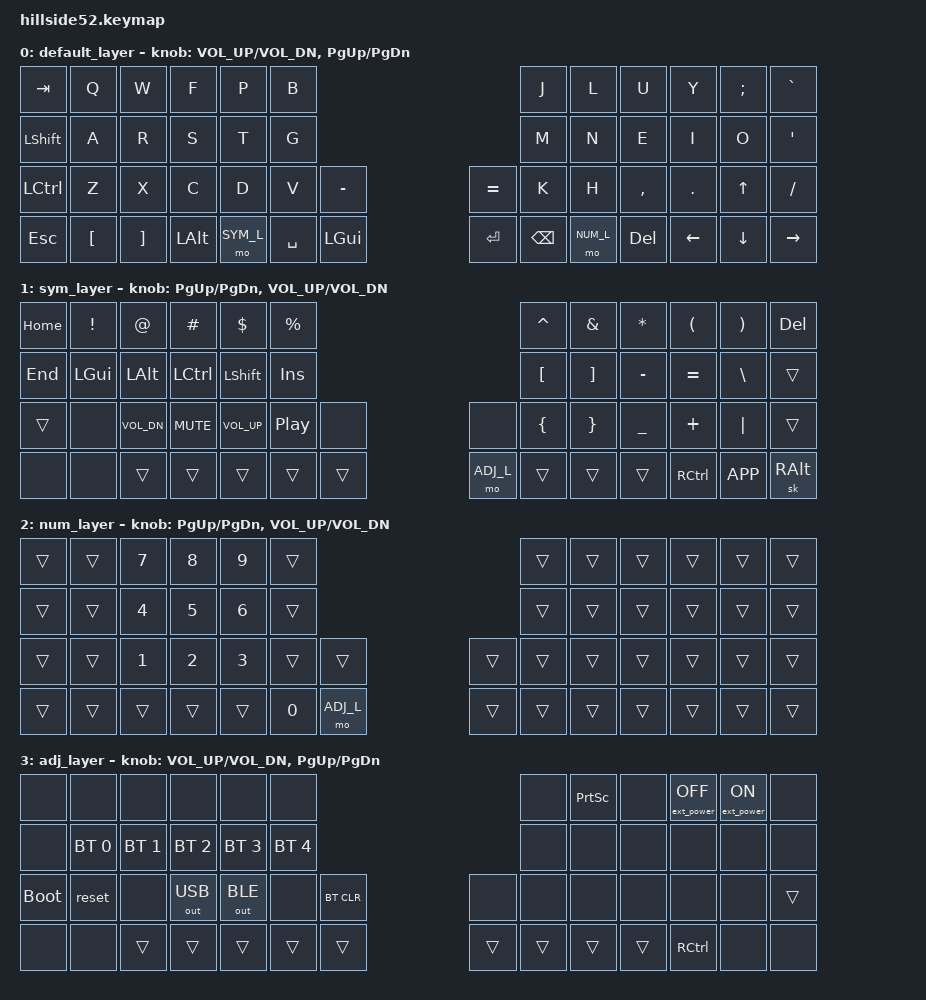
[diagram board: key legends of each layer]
/*
 * Copyright (c) 2021-2022 The ZMK Contributors
 *
 * SPDX-License-Identifier: MIT
 */

#include <behaviors.dtsi>
#include <dt-bindings/zmk/bt.h>
#include <dt-bindings/zmk/ext_power.h>
#include <dt-bindings/zmk/keys.h>
#include <dt-bindings/zmk/outputs.h>


#define COLEMK_L 0
#define SYM_L    1
#define NUM_L    2
#define ADJ_L    3

#define Undo   LC(Z)
#define Cut    LC(X)
#define Copy   LC(C)
#define Paste  LC(V)
#define Redo   LC(Y)


/ {
        keymap {
                compatible = "zmk,keymap";

                default_layer {
/* COLEMAK-DH
 * -------------------------------------------------------------------------------------------------------------------------------------
 * | `     |   Q   |   W   |   F   |   P   |   B   |-----------------------------------|   J   |   L   |   U   |   Y   |   ;   | BKSPC |
 * | TAB   |   A   |   R   |   S   |   T   |   G   |-----------------------------------|   M   |   N   |   E   |   I   |   O   | ENTER |
 * | SHIFT |   Z   |   X   |   C   |   D   |   V   |   '   |-------------------|   /   |   K   |   H   |   ,   |   .   |  Up   | SHIFT |
 * | CAPS  |  ESC  | CTRL  |-------|  GUI  |  ALT  |  Sym  |SK SHFT|---|  Num  | SPACE |  ALT  |  GUI  |-------| Left  | Down  | Right |
 */
                        bindings = <
&kp  TAB    &kp  Q        &kp  W        &kp  F        &kp  P        &kp  B                                                                         &kp  J        &kp  L        &kp  U        &kp  Y        &kp  SEMI     &kp  GRAVE
&kp  LSHFT      &kp  A        &kp  R        &kp  S        &kp  T        &kp  G                                                                         &kp  M        &kp  N        &kp  E        &kp  I        &kp  O        &kp   SQT
&kp  LCTRL    &kp  Z        &kp  X        &kp  C        &kp  D        &kp  V        &kp  MINUS                                           &kp  EQUAL    &kp  K        &kp  H        &kp  COMMA    &kp  DOT      &kp  UP       &kp  SLASH
&kp ESC    &kp  LBKT      &kp RBKT                  &kp  LALT     &mo  SYM_L     &kp SPACE     &kp LGUI            &kp ENTER    &kp  BSPC    &mo  NUM_L    &kp  DEL                   &kp  LEFT     &kp  DOWN     &kp  RIGHT
                        >;
			
                        sensor-bindings = <&inc_dec_kp C_VOL_UP C_VOL_DN &inc_dec_kp PG_UP PG_DN>;
                };
		
                sym_layer {
/* SYM
 * -------------------------------------------------------------------------------------------------------------------------------------
 * | HOME  |   !   |   @   |   #   |   $   |   %   |-----------------------------------|   ^   |   &   |   *   |   (   |   )   | DELETE|
 * | END   |  GUI  |  Alt  | Ctrl  | Shift |  INS  |-----------------------------------|   [   |   ]   |   -   |   =   |   \   | ENTER |
 * | Shift |       | Vol-  | Mute  | Vol+  | Play  |       |-------------------|       |   {   |   }   |   _   |   +   |   |   | SHIFT |
 * |       |       |       |-------|       |       |       |       |---| ADJ_L |       |       |       |-------| CTRL  | MENU  |SkAltGr|
 */
                        bindings = <
&kp  HOME     &kp  EXCL     &kp  AT       &kp  HASH     &kp  DOLLAR   &kp  PERCENT                                                                   &kp  CARET    &kp  AMPS     &kp  ASTRK    &kp  LPAR     &kp  RPAR     &kp  DEL
&kp  END      &kp  LGUI     &kp  LALT     &kp  LCTRL    &kp  LSHFT    &kp  INS                                                                       &kp  LBKT     &kp  RBKT     &kp  MINUS    &kp  EQUAL    &kp  BSLH     &trans
&trans        &none         &kp  C_VOL_DN &kp  C_MUTE   &kp  C_VOL_UP &kp  C_PP     &none                                              &none         &kp  LBRC     &kp  RBRC     &kp  UNDER    &kp  PLUS     &kp  PIPE     &trans
&none         &none         &trans                      &trans        &trans        &trans        &trans                 &mo  ADJ_L    &trans        &trans        &trans                      &kp  RCTRL    &kp  K_APP    &sk  RALT
                        >;
			
                        sensor-bindings = <&inc_dec_kp PG_UP PG_DN &inc_dec_kp C_VOL_UP C_VOL_DN>;
                };
		
                num_layer {
/* NUM
 * -------------------------------------------------------------------------------------------------------------------------------------
 * | Cut   |   1   |   2   |   3   |   4   |   5   |-----------------------------------|   6   |   7   |   8   |   9   |   0   | BSPC  |
 * | Copy  |  Left | Down  |  Up   | Right | Paste |-----------------------------------|VOL UP | Shift | Ctrl  | Alt   | Gui   | ENTER |
 * | Shift |  F1   |  F2   |  F3   |  F4   |  F5   |  UnDo |-------------------| ReDo  |VOL DN | Left  |  Up   | Down  | Right | DELETE|
 * | Pg Up | Pg Dn |       |-------|       |       | ADJ_L |       |---|       |       |       |       |-------| CTRL  |       |       |
 */
                        bindings = <
&trans        &trans       &kp  N7       &kp  N8       &kp  N9       &trans                                                        &trans     &trans      &trans      &trans      &trans       &trans
&trans        &trans       &kp  N4       &kp  N5       &kp  N6       &trans                                                        &trans     &trans      &trans      &trans      &trans      &trans
&trans        &trans       &kp  N1       &kp  N2       &kp  N3       &trans       &trans                                           &trans     &trans      &trans      &trans      &trans      &trans      &trans
&trans    &trans    &trans                      &trans        &trans    &kp N0         &mo ADJ_L                 &trans        &trans         &trans      &trans                  &trans      &trans      &trans
                        >;
			
                        sensor-bindings = <&inc_dec_kp PG_UP PG_DN &inc_dec_kp C_VOL_UP C_VOL_DN>;
                };
		
                adj_layer {
/* ADJUST
 * -------------------------------------------------------------------------------------------------------------------------------------
 * |       | QWERTY| DVORAK| COLEMK|       |       |-----------------------------------|       |Prt Scr|       | EP_OFF| EP_ON |       |
 * |       | BT 0  | BT 1  | BT 2  | BT 3  | BT 4  |-----------------------------------|       |       |       |       |       |       |
 * | BOOTL | RESET |       |OUT_USB|OUT_BLE|       |BT CLR |-------------------|       |       |       |       |       |       | SHIFT |
 * ----------------|       |-------|       |       |       |       |---|       |       |       |       |-------| CTRL  |----------------
 */
                        bindings = <
&none         &none &none &none &none         &none                                                                             &none             &kp PRINTSCREEN    &none         &ext_power EP_OFF  &ext_power EP_ON &none
&none         &bt  BT_SEL 0 &bt  BT_SEL 1 &bt  BT_SEL 2 &bt  BT_SEL 3 &bt  BT_SEL 4                                                                     &none             &none              &none            &none           &none            &none
&bootloader   &reset        &none         &out OUT_USB  &out OUT_BLE  &none         &bt BT_CLR                                         &none            &none             &none              &none            &none           &none            &trans
&none         &none         &trans                      &trans        &trans        &trans        &trans                 &trans        &trans           &trans            &trans                              &kp  RCTRL      &none            &none
                        >;
			
                        sensor-bindings = <&inc_dec_kp C_VOL_UP C_VOL_DN &inc_dec_kp PG_UP PG_DN>;
                };
        };
};
